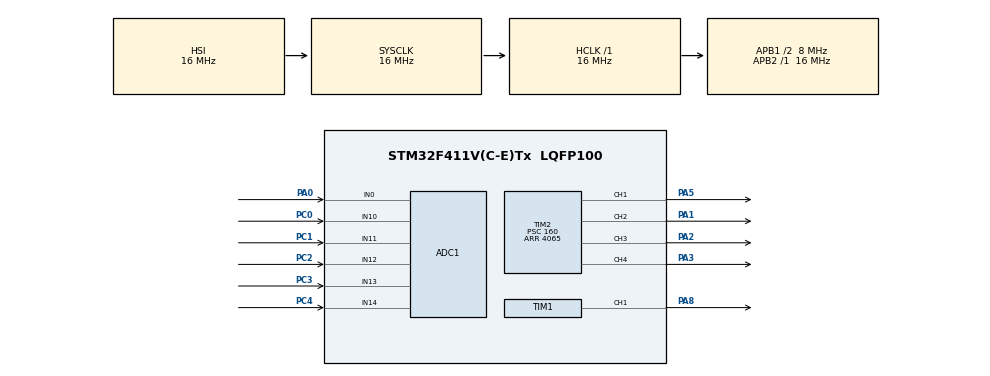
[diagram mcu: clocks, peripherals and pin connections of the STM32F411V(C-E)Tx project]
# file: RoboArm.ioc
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ADC1.Channel-1\#ChannelRegularConversion=ADC_CHANNEL_10
ADC1.Channel-3\#ChannelRegularConversion=ADC_CHANNEL_11
ADC1.Channel-4\#ChannelRegularConversion=ADC_CHANNEL_12
ADC1.Channel-5\#ChannelRegularConversion=ADC_CHANNEL_13
ADC1.Channel-6\#ChannelRegularConversion=ADC_CHANNEL_14
ADC1.ContinuousConvMode=ENABLE
ADC1.DMAContinuousRequests=ENABLE
ADC1.EOCSelection=ADC_EOC_SINGLE_CONV
ADC1.ExternalTrigConv=ADC_SOFTWARE_START
ADC1.NbrOfConversion=5
ADC1.NbrOfConversionFlag=1
ADC1.Rank-1\#ChannelRegularConversion=1
ADC1.Rank-3\#ChannelRegularConversion=2
ADC1.Rank-4\#ChannelRegularConversion=3
ADC1.Rank-5\#ChannelRegularConversion=4
ADC1.Rank-6\#ChannelRegularConversion=5
ADC1.SamplingTime-1\#ChannelRegularConversion=ADC_SAMPLETIME_112CYCLES
ADC1.SamplingTime-3\#ChannelRegularConversion=ADC_SAMPLETIME_112CYCLES
ADC1.SamplingTime-4\#ChannelRegularConversion=ADC_SAMPLETIME_112CYCLES
ADC1.SamplingTime-5\#ChannelRegularConversion=ADC_SAMPLETIME_112CYCLES
ADC1.SamplingTime-6\#ChannelRegularConversion=ADC_SAMPLETIME_112CYCLES
ADC1.ScanConvMode=ENABLE
ADC1.master=1
Dma.ADC1.0.Direction=DMA_PERIPH_TO_MEMORY
Dma.ADC1.0.FIFOMode=DMA_FIFOMODE_DISABLE
Dma.ADC1.0.Instance=DMA2_Stream0
Dma.ADC1.0.MemDataAlignment=DMA_MDATAALIGN_HALFWORD
Dma.ADC1.0.MemInc=DMA_MINC_ENABLE
Dma.ADC1.0.Mode=DMA_CIRCULAR
Dma.ADC1.0.PeriphDataAlignment=DMA_PDATAALIGN_HALFWORD
Dma.ADC1.0.PeriphInc=DMA_PINC_DISABLE
Dma.ADC1.0.Priority=DMA_PRIORITY_LOW
Dma.Request0=ADC1
Mcu.Family=STM32F4
Mcu.Name=STM32F411V(C-E)Tx
Mcu.Package=LQFP100
NVIC.DMA2_Stream0_IRQn=true\:0\:0\:false\:false\:true\:false\:true\:true
NVIC.PriorityGroup=NVIC_PRIORITYGROUP_4
PA0-WKUP.Signal=ADCx_IN0
PA1.GPIO_ModeDefaultPP=GPIO_MODE_AF_PP
PA1.GPIO_Speed=GPIO_SPEED_FREQ_LOW
PA1.Signal=S_TIM2_CH2
PA2.Signal=S_TIM2_CH3
PA3.Signal=S_TIM2_CH4
PA5.Signal=S_TIM2_CH1_ETR
PA8.Signal=S_TIM1_CH1
PC0.Signal=ADCx_IN10
PC1.Signal=ADCx_IN11
PC2.Signal=ADCx_IN12
PC3.Signal=ADCx_IN13
PC4.Signal=ADCx_IN14
PH0\ -\ OSC_IN.Mode=HSE-External-Oscillator
PH0\ -\ OSC_IN.Signal=RCC_OSC_IN
PH1\ -\ OSC_OUT.Mode=HSE-External-Oscillator
PH1\ -\ OSC_OUT.Signal=RCC_OSC_OUT
ProjectManager.HeapSize=0x200
ProjectManager.StackSize=0x400
ProjectManager.TargetToolchain=STM32CubeIDE
RCC.48MHZClocksFreq_Value=32000000
RCC.AHBFreq_Value=16000000
RCC.APB1CLKDivider=RCC_HCLK_DIV2
RCC.APB1Freq_Value=8000000
RCC.APB1TimFreq_Value=16000000
RCC.APB2Freq_Value=16000000
RCC.APB2TimFreq_Value=16000000
RCC.CortexFreq_Value=16000000
RCC.HCLKFreq_Value=16000000
RCC.HSE_VALUE=25000000
RCC.HSI_VALUE=16000000
RCC.LSE_VALUE=32768
RCC.PLLM=12
RCC.PLLN=96
RCC.SYSCLKFreq_VALUE=16000000
RCC.VCOOutputFreq_Value=128000000
SH.ADCx_IN0.0=ADC1_IN0,IN0
SH.ADCx_IN10.0=ADC1_IN10,IN10
SH.ADCx_IN11.0=ADC1_IN11,IN11
SH.ADCx_IN12.0=ADC1_IN12,IN12
SH.ADCx_IN13.0=ADC1_IN13,IN13
SH.ADCx_IN14.0=ADC1_IN14,IN14
SH.S_TIM1_CH1.0=TIM1_CH1,PWM Generation1 CH1
SH.S_TIM2_CH1_ETR.0=TIM2_CH1,PWM Generation1 CH1
SH.S_TIM2_CH2.0=TIM2_CH2,PWM Generation2 CH2
SH.S_TIM2_CH3.0=TIM2_CH3,PWM Generation3 CH3
SH.S_TIM2_CH4.0=TIM2_CH4,PWM Generation4 CH4
TIM1.Channel-PWM\ Generation1\ CH1=TIM_CHANNEL_1
TIM1.Period=4065
TIM1.Prescaler=160
TIM1.Pulse-PWM\ Generation1\ CH1=50
TIM2.Channel-PWM\ Generation1\ CH1=TIM_CHANNEL_1
TIM2.Channel-PWM\ Generation2\ CH2=TIM_CHANNEL_2
TIM2.Channel-PWM\ Generation3\ CH3=TIM_CHANNEL_3
TIM2.Channel-PWM\ Generation4\ CH4=TIM_CHANNEL_4
TIM2.Period=4065
TIM2.Prescaler=160
TIM2.Pulse-PWM\ Generation1\ CH1=50
TIM2.Pulse-PWM\ Generation2\ CH2=50
TIM2.Pulse-PWM\ Generation3\ CH3=50
TIM2.Pulse-PWM\ Generation4\ CH4=50
TIM4.Period=50000
TIM4.Prescaler=16000
VP_TIM1_VS_ClockSourceINT.Mode=Internal
VP_TIM2_VS_ClockSourceINT.Mode=Internal
VP_TIM4_VS_ClockSourceINT.Mode=Internal
board=custom

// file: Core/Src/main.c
/* USER CODE BEGIN Header */
/**
  ******************************************************************************
  * @file           : main.c
  * @brief          : Main program body
  ******************************************************************************
  * @attention
  *
  * Copyright (c) 2023 STMicroelectronics.
  * All rights reserved.
  *
  * This software is licensed under terms that can be found in the LICENSE file
  * in the root directory of this software component.
  * If no LICENSE file comes with this software, it is provided AS-IS.
  *
  ******************************************************************************
  */
/* USER CODE END Header */
#include "main.h"

/* USER CODE BEGIN Includes */
#include "stm32f4xx.h"
#define ARM_MATH_CM4
/* USER CODE END Includes */

ADC_HandleTypeDef hadc1;
DMA_HandleTypeDef hdma_adc1;

TIM_HandleTypeDef htim1;
TIM_HandleTypeDef htim2;
TIM_HandleTypeDef htim4;

/* USER CODE BEGIN PV */
int u;

volatile uint8_t adc_conv_complete_flag = 0;
volatile uint16_t adc_dma_result[5];
int adc_channel_count = sizeof(adc_dma_result)/sizeof(adc_dma_result[0]);
/* USER CODE END PV */

void SystemClock_Config(void);
static void MX_GPIO_Init(void);
static void MX_DMA_Init(void);
static void MX_TIM1_Init(void);
static void MX_ADC1_Init(void);
static void MX_TIM2_Init(void);
static void MX_TIM4_Init(void);
/* USER CODE BEGIN PFP */
void GPIO_Init(void);
void ADC1_Init(void);
void TIM2_Init(void);
void TIM4_ms_Delay(uint32_t delay);
int map(int, int, int, int, int);
void servo_write(int);
void servo_sweep();

/* USER CODE END PFP */

/* USER CODE BEGIN 0 */
void HAL_ADC_ConvCpltCallback(ADC_HandleTypeDef* hadc)
{
  /* Prevent unused argument(s) compilation warning */
	UNUSED(hadc);
	adc_conv_complete_flag = 1;
  /* NOTE : This function Should not be modified, when the callback is needed,
            the HAL_ADC_ConvCpltCallback could be implemented in the user file
   */
}

void GPIO_Init(){
    //PC0 is connected to ADC1 IN10
    RCC->AHB1ENR |= RCC_AHB1ENR_GPIOCEN;// Enable GPIOC clock
    GPIOC->MODER |= GPIO_MODER_MODER0; // Set PC0 to Analog mode
    GPIOC->MODER |= GPIO_MODER_MODER1; // Set PC1 to Analog mode
    GPIOC->MODER |= GPIO_MODER_MODER2; // Set PC2 to Analog mode
    GPIOC->MODER |= GPIO_MODER_MODER3; // Set PC3 to Analog mode

    RCC->AHB1ENR |= 1; //Enable GPIOA clock
    GPIOA->AFR[0] |= 0x00100000; // Select the PA5 pin in alternate function mode
    GPIOA->MODER |= 0x00000800; //Set the PA5 pin alternate function

    GPIOA->AFR[0] |= 0x10000000;// Select the PA1 pin in alternate function mode
    GPIOA->MODER |= GPIO_MODER_MODER1_1;
    //GPIOA->AFR[1] |= 0x00100000; //
    //GPIOA->MODER |= 0x00000800;
    GPIOA->AFR[0] |= 0x01000000; // Select the PA2 pin in alternate function mode
    GPIOA->MODER |= GPIO_MODER_MODER2_1;

    GPIOA->AFR[0] |= 0x11000000; // Select the PA3 pin in alternate function mode
    GPIOA->MODER |= GPIO_MODER_MODER3_1;

    GPIOA->AFR[1] |= 0x01000000; // Select AF1 (TIM1) for pin A8
    GPIOA->MODER |= GPIO_MODER_MODER8_1; // Set A8 to Alternate Function mode
}
void ADC1_Init(){
    RCC->APB2ENR |= RCC_APB2ENR_ADC1EN;//Enable ADC clock
    //APB2 clock is not divided so it runs at 16MHz
    ADC->CCR |= 0<<16; // PCLK2 divide by 2, so the clock frequency is 8MHz
    ADC1->CR2 |= ADC_CR2_CONT; // Setting the Continuous Conversion Mode
    ADC1->CR2 |= ADC_CR2_ADON; // Enabling the ADC
    ADC1->CR2 &= ~ADC_CR2_ALIGN; //setting the alignment to the right
    ADC1->CR1 &= ~ADC_CR1_RES; // Selecting 12-bit resolution
    ADC1->SMPR1 |= (ADC_SMPR1_SMP10_0 | ADC_SMPR1_SMP10_2); // 112 Sampling cycle selection
    ADC1->SMPR1 |= (ADC_SMPR1_SMP11_0 | ADC_SMPR1_SMP11_2); // 112 Sampling cycle selection
    ADC1->SMPR1 |= (ADC_SMPR1_SMP12_0 | ADC_SMPR1_SMP12_2); // 112 Sampling cycle selection
    ADC1->SMPR1 |= (ADC_SMPR1_SMP13_0 | ADC_SMPR1_SMP13_2); // 112 Sampling cycle selection
    ADC1->SMPR1 |= (ADC_SMPR1_SMP14_0 | ADC_SMPR1_SMP14_2); // 112 Sampling cycle selection
    ADC1->SQR3 |= (10<<0)|(11<<5)|(12<<10)|(13<<15)|(14<<20);

}
void TIM2_Init(){
    RCC->APB1ENR |=1;
    TIM2->PSC = 16-1; //Setting the clock frequency to 1MHz.
    TIM2->ARR = 20000; // Total period of the timer
    TIM2->CNT = 0;
    //TIM2->CCMR1 = 0x0060; //PWM mode for the timer
    // Configure TIM2 CH1 for PWM mode
    TIM2->CCMR1 |= TIM_CCMR1_OC1M_2 | TIM_CCMR1_OC1M_1; // PWM mode for CH1
    TIM2->CCER |= TIM_CCER_CC1E; // Enable channel 1 as output

    TIM2->CCMR1 |= TIM_CCMR1_OC2M_2 | TIM_CCMR1_OC2M_1; // PWM mode for CH2
    TIM2->CCER |= TIM_CCER_CC2E; // Enable channel 2 as output
    //TIM2->CCR1 = 500; // Pulse width for PWM
    TIM2->CCMR2 |= TIM_CCMR2_OC3M_2 | TIM_CCMR2_OC3M_1; // PWM mode for CH2
    TIM2->CCER |= TIM_CCER_CC3E; // Enable channel 3 as output

    TIM2->CCMR2 |= TIM_CCMR2_OC4M_2 | TIM_CCMR2_OC4M_1; // PWM mode for CH2
    TIM2->CCER |= TIM_CCER_CC4E; // Enable channel 4 as output

    TIM2->CCR1 = 500; // Pulse width for PWM
    TIM2->CCR2 = 500;
    TIM2->CCR3 = 500;
    TIM2->CCR4 = 500;
}
void TIM1_Init() {
    RCC->APB2ENR |= RCC_APB2ENR_TIM1EN; // Enable TIM1 clock
    TIM1->PSC = 16 - 1; // Setting the clock frequency to 1MHz.
    TIM1->ARR = 20000; // Total period of the timer
    TIM1->CNT = 0;

    // Configure TIM1 CH1 for PWM mode
    TIM1->CCMR1 |= TIM_CCMR1_OC1M_2 | TIM_CCMR1_OC1M_1; // PWM mode for CH1
    TIM1->CCER |= TIM_CCER_CC1E; // Enable channel 1 as output

    // Configure the corresponding GPIO pin (A8) in alternate function mode
    RCC->AHB1ENR |= RCC_AHB1ENR_GPIOAEN; // Enable GPIOA clock
    GPIOA->MODER |= GPIO_MODER_MODER8_1; // Set A8 to Alternate Function mode
    GPIOA->AFR[1] |= 0x01000000; // Select AF1 (TIM1) for pin A8

    TIM1->CCR1 = 500;
}

//int map(int st1, int fn1, int st2, int fn2, int value)
//{
//    return (1.0*(value-st1))/((fn1-st1)*1.0) * (fn2-st2)+st2;
//}

//void servo_write(int angle)
//{
//	__HAL_TIM_SET_COMPARE(&htim2, TIM_CHANNEL_1, map(0,180,50,250,angle));
//}

//void servo_sweep(void)
//{
//		for(int i = 0; i <= 180; i++)
//		{
//			servo_write(i);
//			HAL_Delay(10);
//		}
//		for(int i = 180; i >= 0; i--)
//		{
//			servo_write(i);
//			HAL_Delay(10);
//		}
//}
//void TIM4_ms_Delay(uint32_t delay){
//    RCC->APB1ENR |= 1<<2; //Start the clock for the timer peripheral
//    TIM4->PSC = 16000-1; //Setting the clock frequency to 1kHz.
//    TIM4->ARR = (delay); // Total period of the timer
//    TIM4->CNT = 0;
//    TIM4->CR1 |= 1; //Start the Timer
//    while(!(TIM4->SR & TIM_SR_UIF)){} //Polling the update interrupt flag
//    TIM4->SR &= ~(0x0001); //Reset the update interrupt flag
//}
/* USER CODE END 0 */

int main(void)
{

  /* MCU Configuration--------------------------------------------------------*/

  /* Reset of all peripherals, Initializes the Flash interface and the Systick. */
  HAL_Init();

  /* Configure the system clock */
  SystemClock_Config();

  /* Initialize all configured peripherals */
  MX_GPIO_Init();
  MX_DMA_Init();
  MX_TIM1_Init();
  MX_ADC1_Init();
  MX_TIM2_Init();
  MX_TIM4_Init();
  /* USER CODE BEGIN 2 */
  RCC->CFGR |= 0<<10; // set APB1 = 16 MHz
  GPIO_Init();
  ADC1_Init();
  TIM2_Init();
  TIM2->CR1 |= 1;
  HAL_TIM_PWM_Start(&htim2, TIM_CHANNEL_1);
  HAL_TIM_PWM_Start(&htim2, TIM_CHANNEL_2);
  HAL_TIM_PWM_Start(&htim2, TIM_CHANNEL_3);
  HAL_TIM_PWM_Start(&htim2, TIM_CHANNEL_4);
  //changed added timer1 pwm start
  HAL_TIM_PWM_Start(&htim1, TIM_CHANNEL_1);
  HAL_ADC_Start_DMA(&hadc1, (uint32_t *) adc_dma_result, adc_channel_count);
  /* USER CODE END 2 */

  /* Infinite loop */
  /* USER CODE BEGIN WHILE */

  while (1)
  {
      //ADC1->CR2 |= ADC_CR2_SWSTART; //Starting ADC conversion
      //while (!(ADC1->SR & ADC_SR_EOC)){}
      //u = ADC1->DR;
      //TIM2->CCR1 = (int)(((u/4095)*2000)+500);
      //TIM4_ms_Delay(50);
	  if (adc_conv_complete_flag==1){
      uint16_t adc_value_ch1 = adc_dma_result[0];
      uint16_t pwm_value_ch1 = (adc_value_ch1 * 2000) / 4095 + 500; // Scale ADC value to PWM range

      uint16_t adc_value_ch2 = adc_dma_result[1];
      uint16_t pwm_value_ch2 = (adc_value_ch2 * 2000) / 4095 + 500; // Scale ADC value to PWM range

      uint16_t adc_value_ch3 = adc_dma_result[2];
      uint16_t pwm_value_ch3 = (adc_value_ch3 * 2000) / 4095 + 500; // Scale ADC value to PWM range

      uint16_t adc_value_ch4 = adc_dma_result[3];
      uint16_t pwm_value_ch4 = (adc_value_ch4 * 2000) / 4095 + 500; // Scale ADC value to PWM range

      uint16_t adc_value_ch5 = adc_dma_result[4];
      uint16_t pwm_value_ch5 = (adc_value_ch5 * 2000) / 4095 + 500; // Scale ADC value to PWM range

      __HAL_TIM_SET_COMPARE(&htim2, TIM_CHANNEL_1, (uint16_t)pwm_value_ch1);
      __HAL_TIM_SET_COMPARE(&htim2, TIM_CHANNEL_2, (uint16_t)pwm_value_ch2);
      __HAL_TIM_SET_COMPARE(&htim2, TIM_CHANNEL_3, (uint16_t)pwm_value_ch3);
      __HAL_TIM_SET_COMPARE(&htim2, TIM_CHANNEL_4, (uint16_t)pwm_value_ch4);
      //changed to tim1 ch1
      __HAL_TIM_SET_COMPARE(&htim1, TIM_CHANNEL_1, (uint16_t)pwm_value_ch5);
      adc_conv_complete_flag=0;
	  }
      HAL_Delay(10);

      //HAL_ADC_Start(&hadc1);

      //if (HAL_ADC_PollForConversion(&hadc1, HAL_MAX_DELAY) == HAL_OK) {
          //uint16_t adc_value = HAL_ADC_GetValue(&hadc1);
          //uint16_t pwm_value = (adc_value * 2000)/4095+500; // Scale ADC value to PWM range
          //__HAL_TIM_SET_COMPARE(&htim2, TIM_CHANNEL_2, pwm_value);
      //}
      //HAL_Delay(100); // Adjust the delay as needed

	  //for (int i = 0; i<= 2500; i++){s
	  //__HAL_TIM_SET_COMPARE(&htim2, TIM_CHANNEL_1, i);
	  ////  HAL_Delay(1); // Adjust the delay as needed
	  //}
	  //servo_write(0);
      //__HAL_TIM_SET_COMPARE(&htim2, TIM_CHANNEL_1, 2500);
      //servo_write(200);
      //HAL_Delay(100);
	  //servo_sweep();

      // when adc_conv_complete_flag is set to 1,
      // that means DMA conversion is completed
    /* USER CODE END WHILE */

  }
}

void SystemClock_Config(void)
{
  RCC_OscInitTypeDef RCC_OscInitStruct = {0};
  RCC_ClkInitTypeDef RCC_ClkInitStruct = {0};

  /** Configure the main internal regulator output voltage
  */
  __HAL_RCC_PWR_CLK_ENABLE();
  __HAL_PWR_VOLTAGESCALING_CONFIG(PWR_REGULATOR_VOLTAGE_SCALE1);

  /** Initializes the RCC Oscillators according to the specified parameters
  * in the RCC_OscInitTypeDef structure.
  */
  RCC_OscInitStruct.OscillatorType = RCC_OSCILLATORTYPE_HSI;
  RCC_OscInitStruct.HSIState = RCC_HSI_ON;
  RCC_OscInitStruct.HSICalibrationValue = RCC_HSICALIBRATION_DEFAULT;
  RCC_OscInitStruct.PLL.PLLState = RCC_PLL_NONE;
  if (HAL_RCC_OscConfig(&RCC_OscInitStruct) != HAL_OK)
  {
    Error_Handler();
  }

  /** Initializes the CPU, AHB and APB buses clocks
  */
  RCC_ClkInitStruct.ClockType = RCC_CLOCKTYPE_HCLK|RCC_CLOCKTYPE_SYSCLK
                              |RCC_CLOCKTYPE_PCLK1|RCC_CLOCKTYPE_PCLK2;
  RCC_ClkInitStruct.SYSCLKSource = RCC_SYSCLKSOURCE_HSI;
  RCC_ClkInitStruct.AHBCLKDivider = RCC_SYSCLK_DIV1;
  RCC_ClkInitStruct.APB1CLKDivider = RCC_HCLK_DIV2;
  RCC_ClkInitStruct.APB2CLKDivider = RCC_HCLK_DIV1;

  if (HAL_RCC_ClockConfig(&RCC_ClkInitStruct, FLASH_LATENCY_0) != HAL_OK)
  {
    Error_Handler();
  }
}

static void MX_ADC1_Init(void)
{

  ADC_ChannelConfTypeDef sConfig = {0};

  /** Configure the global features of the ADC (Clock, Resolution, Data Alignment and number of conversion)
  */
  hadc1.Instance = ADC1;
  hadc1.Init.ClockPrescaler = ADC_CLOCK_SYNC_PCLK_DIV2;
  hadc1.Init.Resolution = ADC_RESOLUTION_12B;
  hadc1.Init.ScanConvMode = ENABLE;
  hadc1.Init.ContinuousConvMode = ENABLE;
  hadc1.Init.DiscontinuousConvMode = DISABLE;
  hadc1.Init.ExternalTrigConvEdge = ADC_EXTERNALTRIGCONVEDGE_NONE;
  hadc1.Init.ExternalTrigConv = ADC_SOFTWARE_START;
  hadc1.Init.DataAlign = ADC_DATAALIGN_RIGHT;
  hadc1.Init.NbrOfConversion = 5;
  hadc1.Init.DMAContinuousRequests = ENABLE;
  hadc1.Init.EOCSelection = ADC_EOC_SINGLE_CONV;
  if (HAL_ADC_Init(&hadc1) != HAL_OK)
  {
    Error_Handler();
  }

  /** Configure for the selected ADC regular channel its corresponding rank in the sequencer and its sample time.
  */
  sConfig.Channel = ADC_CHANNEL_10;
  sConfig.Rank = 1;
  sConfig.SamplingTime = ADC_SAMPLETIME_112CYCLES;
  if (HAL_ADC_ConfigChannel(&hadc1, &sConfig) != HAL_OK)
  {
    Error_Handler();
  }

  /** Configure for the selected ADC regular channel its corresponding rank in the sequencer and its sample time.
  */
  sConfig.Channel = ADC_CHANNEL_11;
  sConfig.Rank = 2;
  if (HAL_ADC_ConfigChannel(&hadc1, &sConfig) != HAL_OK)
  {
    Error_Handler();
  }

  /** Configure for the selected ADC regular channel its corresponding rank in the sequencer and its sample time.
  */
  sConfig.Channel = ADC_CHANNEL_12;
  sConfig.Rank = 3;
  if (HAL_ADC_ConfigChannel(&hadc1, &sConfig) != HAL_OK)
  {
    Error_Handler();
  }

  /** Configure for the selected ADC regular channel its corresponding rank in the sequencer and its sample time.
  */
  sConfig.Channel = ADC_CHANNEL_13;
  sConfig.Rank = 4;
  if (HAL_ADC_ConfigChannel(&hadc1, &sConfig) != HAL_OK)
  {
    Error_Handler();
  }

  /** Configure for the selected ADC regular channel its corresponding rank in the sequencer and its sample time.
  */
  sConfig.Channel = ADC_CHANNEL_14;
  sConfig.Rank = 5;
  if (HAL_ADC_ConfigChannel(&hadc1, &sConfig) != HAL_OK)
  {
    Error_Handler();
  }

}

static void MX_TIM1_Init(void)
{

  TIM_ClockConfigTypeDef sClockSourceConfig = {0};
  TIM_MasterConfigTypeDef sMasterConfig = {0};
  TIM_OC_InitTypeDef sConfigOC = {0};
  TIM_BreakDeadTimeConfigTypeDef sBreakDeadTimeConfig = {0};

  htim1.Instance = TIM1;
  htim1.Init.Prescaler = 160;
  htim1.Init.CounterMode = TIM_COUNTERMODE_UP;
  htim1.Init.Period = 4065;
  htim1.Init.ClockDivision = TIM_CLOCKDIVISION_DIV1;
  htim1.Init.RepetitionCounter = 0;
  htim1.Init.AutoReloadPreload = TIM_AUTORELOAD_PRELOAD_DISABLE;
  if (HAL_TIM_Base_Init(&htim1) != HAL_OK)
  {
    Error_Handler();
  }
  sClockSourceConfig.ClockSource = TIM_CLOCKSOURCE_INTERNAL;
  if (HAL_TIM_ConfigClockSource(&htim1, &sClockSourceConfig) != HAL_OK)
  {
    Error_Handler();
  }
  if (HAL_TIM_PWM_Init(&htim1) != HAL_OK)
  {
    Error_Handler();
  }
  sMasterConfig.MasterOutputTrigger = TIM_TRGO_RESET;
  sMasterConfig.MasterSlaveMode = TIM_MASTERSLAVEMODE_DISABLE;
  if (HAL_TIMEx_MasterConfigSynchronization(&htim1, &sMasterConfig) != HAL_OK)
  {
    Error_Handler();
  }
  sConfigOC.OCMode = TIM_OCMODE_PWM1;
  sConfigOC.Pulse = 50;
  sConfigOC.OCPolarity = TIM_OCPOLARITY_HIGH;
  sConfigOC.OCNPolarity = TIM_OCNPOLARITY_HIGH;
  sConfigOC.OCFastMode = TIM_OCFAST_DISABLE;
  sConfigOC.OCIdleState = TIM_OCIDLESTATE_RESET;
  sConfigOC.OCNIdleState = TIM_OCNIDLESTATE_RESET;
  if (HAL_TIM_PWM_ConfigChannel(&htim1, &sConfigOC, TIM_CHANNEL_1) != HAL_OK)
  {
    Error_Handler();
  }
  sBreakDeadTimeConfig.OffStateRunMode = TIM_OSSR_DISABLE;
  sBreakDeadTimeConfig.OffStateIDLEMode = TIM_OSSI_DISABLE;
  sBreakDeadTimeConfig.LockLevel = TIM_LOCKLEVEL_OFF;
  sBreakDeadTimeConfig.DeadTime = 0;
  sBreakDeadTimeConfig.BreakState = TIM_BREAK_DISABLE;
  sBreakDeadTimeConfig.BreakPolarity = TIM_BREAKPOLARITY_HIGH;
  sBreakDeadTimeConfig.AutomaticOutput = TIM_AUTOMATICOUTPUT_DISABLE;
  if (HAL_TIMEx_ConfigBreakDeadTime(&htim1, &sBreakDeadTimeConfig) != HAL_OK)
  {
    Error_Handler();
  }
  HAL_TIM_MspPostInit(&htim1);

}

static void MX_TIM2_Init(void)
{

  TIM_ClockConfigTypeDef sClockSourceConfig = {0};
  TIM_MasterConfigTypeDef sMasterConfig = {0};
  TIM_OC_InitTypeDef sConfigOC = {0};

  htim2.Instance = TIM2;
  htim2.Init.Prescaler = 160;
  htim2.Init.CounterMode = TIM_COUNTERMODE_UP;
  htim2.Init.Period = 4065;
  htim2.Init.ClockDivision = TIM_CLOCKDIVISION_DIV1;
  htim2.Init.AutoReloadPreload = TIM_AUTORELOAD_PRELOAD_DISABLE;
  if (HAL_TIM_Base_Init(&htim2) != HAL_OK)
  {
    Error_Handler();
  }
  sClockSourceConfig.ClockSource = TIM_CLOCKSOURCE_INTERNAL;
  if (HAL_TIM_ConfigClockSource(&htim2, &sClockSourceConfig) != HAL_OK)
  {
    Error_Handler();
  }
  if (HAL_TIM_PWM_Init(&htim2) != HAL_OK)
  {
    Error_Handler();
  }
  sMasterConfig.MasterOutputTrigger = TIM_TRGO_RESET;
  sMasterConfig.MasterSlaveMode = TIM_MASTERSLAVEMODE_DISABLE;
  if (HAL_TIMEx_MasterConfigSynchronization(&htim2, &sMasterConfig) != HAL_OK)
  {
    Error_Handler();
  }
  sConfigOC.OCMode = TIM_OCMODE_PWM1;
  sConfigOC.Pulse = 50;
  sConfigOC.OCPolarity = TIM_OCPOLARITY_HIGH;
  sConfigOC.OCFastMode = TIM_OCFAST_DISABLE;
  if (HAL_TIM_PWM_ConfigChannel(&htim2, &sConfigOC, TIM_CHANNEL_1) != HAL_OK)
  {
    Error_Handler();
  }
  if (HAL_TIM_PWM_ConfigChannel(&htim2, &sConfigOC, TIM_CHANNEL_2) != HAL_OK)
  {
    Error_Handler();
  }
  if (HAL_TIM_PWM_ConfigChannel(&htim2, &sConfigOC, TIM_CHANNEL_3) != HAL_OK)
  {
    Error_Handler();
  }
  if (HAL_TIM_PWM_ConfigChannel(&htim2, &sConfigOC, TIM_CHANNEL_4) != HAL_OK)
  {
    Error_Handler();
  }
  HAL_TIM_MspPostInit(&htim2);

}

static void MX_TIM4_Init(void)
{

  TIM_ClockConfigTypeDef sClockSourceConfig = {0};
  TIM_MasterConfigTypeDef sMasterConfig = {0};

  htim4.Instance = TIM4;
  htim4.Init.Prescaler = 16000;
  htim4.Init.CounterMode = TIM_COUNTERMODE_UP;
  htim4.Init.Period = 50000;
  htim4.Init.ClockDivision = TIM_CLOCKDIVISION_DIV1;
  htim4.Init.AutoReloadPreload = TIM_AUTORELOAD_PRELOAD_DISABLE;
  if (HAL_TIM_Base_Init(&htim4) != HAL_OK)
  {
    Error_Handler();
  }
  sClockSourceConfig.ClockSource = TIM_CLOCKSOURCE_INTERNAL;
  if (HAL_TIM_ConfigClockSource(&htim4, &sClockSourceConfig) != HAL_OK)
  {
    Error_Handler();
  }
  sMasterConfig.MasterOutputTrigger = TIM_TRGO_RESET;
  sMasterConfig.MasterSlaveMode = TIM_MASTERSLAVEMODE_DISABLE;
  if (HAL_TIMEx_MasterConfigSynchronization(&htim4, &sMasterConfig) != HAL_OK)
  {
    Error_Handler();
  }

}

static void MX_DMA_Init(void)
{

  /* DMA controller clock enable */
  __HAL_RCC_DMA2_CLK_ENABLE();

  /* DMA interrupt init */
  /* DMA2_Stream0_IRQn interrupt configuration */
  HAL_NVIC_SetPriority(DMA2_Stream0_IRQn, 0, 0);
  HAL_NVIC_EnableIRQ(DMA2_Stream0_IRQn);

}

static void MX_GPIO_Init(void)
{

  /* GPIO Ports Clock Enable */
  __HAL_RCC_GPIOH_CLK_ENABLE();
  __HAL_RCC_GPIOC_CLK_ENABLE();
  __HAL_RCC_GPIOA_CLK_ENABLE();

}

void Error_Handler(void)
{
  __disable_irq();
  while (1)
  {
  }
}
